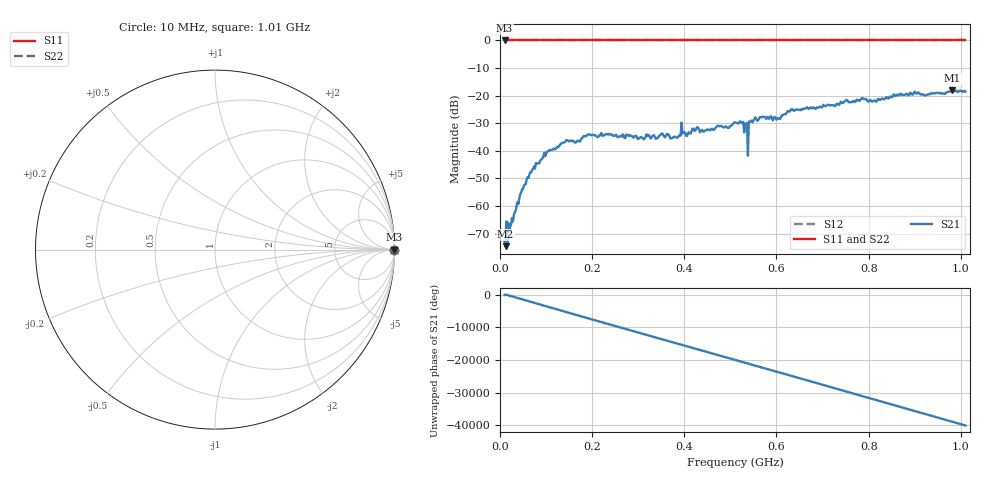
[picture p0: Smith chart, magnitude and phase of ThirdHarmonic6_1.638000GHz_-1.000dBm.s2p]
! 8/16/2025 7:35:38 PM
! C:\ANRITSUVNA\TEMP\TEMP.S2P
! CHANNEL.1
! TR.MEASUREMENT
! RAW.DATA
! RF.CORRECTION.OFF
! AVERAGING.OFF
! IF.BANDWIDTH: 5KHZ
! SWEEPTYPE:  FREQ.SWEEP(Linear)
! Reference Plane Port Info
! PORT:  PORT1  PORT2
! DISTANCE:  0  m  0  m
! TIME:  0  s  0  s
! PHASE.OFFSET:  0  deg.  0  deg.
! LOSS:  0  dB  0  dB
! REF.LOSS:  0  dB  0  dB
! REF.FREQ:  0  Hz  0  Hz
! Power Info
! POWER:  -20  dBm  -20  dBm
! EFF.POWER:  -20  dBm  -20  dBm
! SOURCE.ATTEN:  0  dB  0  dB
! TEST.ATTEN:  0  dB  0  dB
# GHZ S RI R 50.0
! FREQ.GHZ  S11RE  S11IM  S21RE  S21IM  S12RE  S12IM  S22RE  S22IM
!; PortSelection: Port_12
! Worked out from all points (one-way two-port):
!   501 points, 10 MHz to 1.01 GHz, reference 50 ohm
!   highest |S21| = -18.10 dB at 982 MHz (marker M1); lowest = -74.6 dB at 12 MHz (marker M2)
!   lowest |S11| = 0.0 dB at 10 MHz (marker M3)
!   |S11| at or under -10 dB: nowhere
!   |S22| runs from 0.0 to 0.0 dB; largest |S21 - S12| = 1.1
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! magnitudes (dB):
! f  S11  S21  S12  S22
! 10 MHz  0.0  -73.0  0.0  0.0
! 12 MHz  0.0  -74.6  0.0  0.0
! 48 MHz  0.0  -53.9  0.0  0.0
! 76 MHz  0.0  -46.5  0.0  0.0
! 106 MHz  0.0  -40.1  0.0  0.0
! 144 MHz  0.0  -36.1  0.0  0.0
! 178 MHz  0.0  -35.5  0.0  0.0
! 234 MHz  0.0  -34.2  0.0  0.0
! 344 MHz  0.0  -35.0  0.0  0.0
! 382 MHz  0.0  -35.2  0.0  0.0
! 398 MHz  0.0  -33.4  0.0  0.0
! 408 MHz  0.0  -33.6  0.0  0.0
! 510 MHz  0.0  -29.7  0.0  0.0
! 532 MHz  0.0  -30.2  0.0  0.0
! 534 MHz  0.0  -30.4  0.0  0.0
! 550 MHz  0.0  -29.0  0.0  0.0
! 604 MHz  0.0  -28.2  0.0  0.0
! 630 MHz  0.0  -25.5  0.0  0.0
! 678 MHz  0.0  -24.6  0.0  0.0
! 844 MHz  0.0  -20.9  0.0  0.0
! 982 MHz  0.0  -18.1  0.0  0.0
! 1.01 GHz  0.0  -18.6  0.0  0.0
